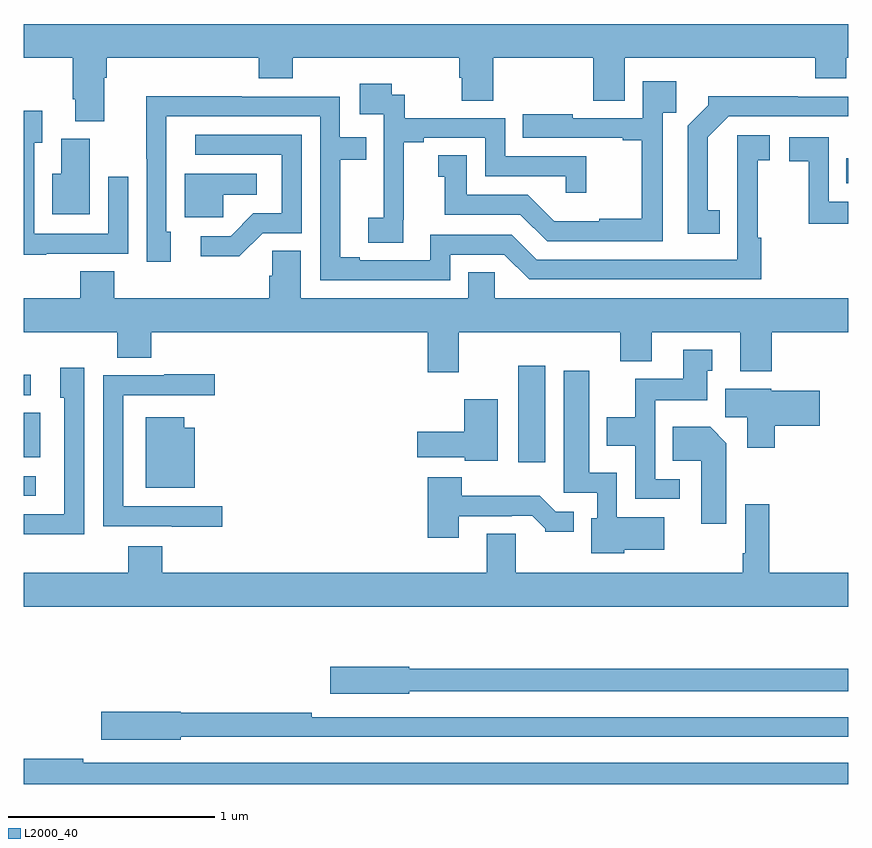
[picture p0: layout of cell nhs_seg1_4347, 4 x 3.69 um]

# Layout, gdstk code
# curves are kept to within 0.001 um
import gdstk
lib = gdstk.Library(unit=1e-6, precision=1e-09)
def R(c, l, rs):  # rectangles x0, y0, x1, y1
    for r in rs: c.add(gdstk.rectangle(r[:2], r[2:], *l))
def P(c, l, *ps):  # polygons
    for p in ps: c.add(gdstk.Polygon(p, *l))
L2000_40 = (2000, 40)

nhs_seg1_4347 = lib.new_cell('nhs_seg1_4347')
R(nhs_seg1_4347, L2000_40, [(347,557.598,347.056,557.694), (349.4,557.76,349.531,558.229), (347,557.786,347.08,558.002), (347,558.087,347.032,558.185), (350.992,559.115,351,559.237)])
P(nhs_seg1_4347, L2000_40, [(347.389,559.628),(347.402,559.628),(347.402,559.724),(348.14,559.724),(348.14,559.625),(348.305,559.625),(348.305,559.724),(349.112,559.724),(349.112,559.626),(349.124,559.626),(349.124,559.516),(349.277,559.516),(349.277,559.724),(349.763,559.724),(349.763,559.516),(349.915,559.516),(349.915,559.724),(350.84,559.724),(350.84,559.625),(350.992,559.625),(350.992,559.724),(351,559.724),(351,559.888),(347,559.888),(347,559.724),(347.237,559.724),(347.237,559.522),(347.249,559.522),(347.249,559.417),(347.389,559.417)],
  [(350.1,559.457),(350.165,559.457),(350.165,559.609),(350.004,559.609),(350.004,559.431),(349.663,559.431),(349.663,559.45),(349.42,559.45),(349.42,559.335),(349.907,559.335),(349.907,559.323),(349.999,559.323),(349.999,558.943),(349.793,558.943),(349.793,558.931),(349.574,558.931),(349.446,559.059),(349.15,559.059),(349.15,559.25),(349.01,559.25),(349.01,559.147),(349.043,559.147),(349.043,558.963),(349.41,558.963),(349.539,558.834),(350.1,558.834)],
  [(348.842,558.937),(348.844,558.937),(348.844,559.315),(348.94,559.315),(348.94,559.335),(349.239,559.335),(349.239,559.149),(349.629,559.149),(349.629,559.068),(349.73,559.068),(349.73,559.245),(349.335,559.245),(349.335,559.431),(348.848,559.431),(348.848,559.545),(348.786,559.545),(348.786,559.597),(348.63,559.597),(348.63,559.449),(348.747,559.449),(348.747,559.145),(348.746,559.145),(348.746,558.948),(348.672,558.948),(348.672,558.826),(348.842,558.826)],
  [(349.068,558.768),(349.332,558.768),(349.452,558.648),(350.579,558.648),(350.579,558.851),(350.562,558.851),(350.562,559.227),(350.62,559.227),(350.62,559.348),(350.462,559.348),(350.463,558.744),(349.488,558.744),(349.368,558.864),(348.972,558.864),(348.972,558.741),(348.631,558.741),(348.631,558.756),(348.535,558.756),(348.535,559.23),(348.662,559.23),(348.662,559.338),(348.534,559.338),(348.534,559.536),(348.056,559.536),(348.056,559.538),(347.594,559.538),(347.595,558.735),(347.713,558.735),(347.713,558.879),(347.691,558.879),(347.691,559.44),(348.438,559.44),(348.438,558.645),(349.068,558.645)],
  [(350.378,558.983),(350.32,558.983),(350.32,559.339),(350.421,559.44),(351,559.44),(351,559.536),(350.756,559.536),(350.756,559.538),(350.322,559.538),(350.322,559.493),(350.223,559.394),(350.223,558.87),(350.378,558.87)],
  [(347.109,558.774),(347.505,558.774),(347.505,559.147),(347.409,559.147),(347.409,558.87),(347.049,558.87),(347.049,559.312),(347.089,559.312),(347.089,559.468),(347,559.468),(347,558.767),(347.109,558.767)],
  [(348.159,558.873),(348.348,558.873),(348.348,559.35),(347.832,559.35),(347.832,559.254),(348.252,559.254),(348.252,558.969),(348.114,558.969),(348.003,558.858),(347.859,558.858),(347.859,558.761),(348.046,558.761)],
  [(351,559.026),(350.907,559.026),(350.907,559.338),(350.715,559.338),(350.715,559.222),(350.809,559.222),(350.809,558.918),(351,558.918)],
  [(347.32,559.332),(347.18,559.332),(347.18,559.162),(347.138,559.162),(347.138,558.965),(347.32,558.965)],
  [(347.967,559.058),(348.13,559.058),(348.13,559.162),(347.78,559.162),(347.78,558.951),(347.967,558.951)],
  [(349.111,558.392),(349.895,558.392),(349.895,558.251),(350.047,558.251),(350.047,558.392),(350.477,558.392),(350.477,558.203),(350.63,558.203),(350.63,558.392),(351,558.392),(351,558.556),(349.284,558.556),(349.284,558.683),(349.157,558.683),(349.157,558.556),(348.343,558.556),(348.343,558.788),(348.204,558.788),(348.204,558.665),(348.191,558.665),(348.191,558.556),(347.438,558.556),(347.438,558.689),(347.273,558.689),(347.273,558.556),(347,558.556),(347,558.392),(347.453,558.392),(347.453,558.268),(347.618,558.268),(347.618,558.392),(348.959,558.392),(348.959,558.198),(349.111,558.198)],
  [(350.182,557.679),(350.064,557.679),(350.064,558.062),(350.317,558.062),(350.317,558.204),(350.341,558.204),(350.341,558.307),(350.201,558.307),(350.201,558.166),(349.966,558.166),(349.966,557.98),(349.829,557.98),(349.829,557.84),(349.968,557.84),(349.968,557.583),(350.182,557.583)],
  [(347.292,558.22),(347.177,558.22),(347.177,558.075),(347.196,558.075),(347.196,557.508),(347,557.508),(347,557.411),(347.292,557.411)],
  [(349.914,557.336),(350.107,557.336),(350.107,557.494),(349.878,557.494),(349.878,557.71),(349.744,557.71),(349.744,558.205),(349.619,558.205),(349.619,557.613),(349.782,557.613),(349.782,557.49),(349.754,557.49),(349.754,557.318),(349.914,557.318)],
  [(347.962,557.547),(347.481,557.547),(347.481,558.087),(347.926,558.087),(347.926,558.187),(347.681,558.187),(347.681,558.183),(347.385,558.183),(347.385,557.451),(347.717,557.451),(347.717,557.447),(347.962,557.447)],
  [(350.645,557.939),(350.863,557.939),(350.863,558.109),(350.628,558.109),(350.628,558.118),(350.405,558.118),(350.405,557.98),(350.51,557.98),(350.51,557.832),(350.645,557.832)],
  [(349.3,558.067),(349.136,558.067),(349.136,557.908),(348.909,557.908),(348.909,557.786),(349.14,557.786),(349.14,557.768),(349.3,557.768)],
  [(347.83,557.929),(347.777,557.929),(347.777,557.98),(347.591,557.98),(347.591,557.636),(347.83,557.636)],
  [(350.41,557.854),(350.332,557.932),(350.149,557.932),(350.149,557.768),(350.288,557.768),(350.288,557.463),(350.41,557.463)],
  [(349.111,557.499),(349.367,557.499),(349.367,557.502),(349.466,557.502),(349.53,557.438),(349.53,557.423),(349.669,557.423),(349.669,557.52),(349.581,557.52),(349.503,557.599),(349.124,557.599),(349.124,557.689),(348.959,557.689),(348.959,557.394),(349.111,557.394)],
  [(351,557.224),(350.618,557.224),(350.618,557.557),(350.502,557.557),(350.502,557.32),(350.49,557.32),(350.49,557.224),(349.387,557.224),(349.387,557.414),(349.247,557.414),(349.247,557.224),(347.672,557.224),(347.672,557.353),(347.507,557.353),(347.507,557.224),(347,557.224),(347,557.06),(351,557.06)],
  [(348.87,556.65),(351,556.65),(351,556.759),(348.87,556.759),(348.87,556.767),(348.486,556.767),(348.486,556.637),(348.87,556.637)],
  [(347.76,556.428),(351,556.428),(351,556.524),(348.398,556.524),(348.398,556.544),(347.76,556.544),(347.76,556.55),(347.376,556.55),(347.376,556.415),(347.76,556.415)],
  [(351,556.302),(347.288,556.302),(347.288,556.322),(347,556.322),(347,556.199),(351,556.199)])

lib.write_gds('nhs_seg1_4347.gds')
